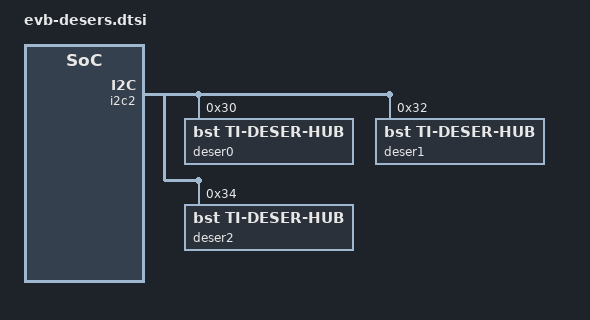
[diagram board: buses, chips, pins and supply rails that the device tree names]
/*
   default deser config for evb
   deser0@i2c2 0x30:    ti960
   deser1@i2c2 0x32:    ti960
   deser2@i2c2 0x34:    ti960
*/

&i2c2 {
    #address-cells = <1>;
    #size-cells = <0>;

    deser0: ti960@30 {
        compatible = "bst,ti-deser-hub";
        type = "ti960";
        reg = <0x30>;
        i2c-port = <0>;
        csi2-port = <0>;
        lane-speed = <1600>;
    };

    deser1: ti960@32 {
        compatible = "bst,ti-deser-hub";
        type = "ti960";
        reg = <0x32>;
        i2c-port = <0>;
        csi2-port = <0>;
        lane-speed = <1600>;
    };

    deser2: ti960@34 {
        compatible = "bst,ti-deser-hub";
        type = "ti960";
        reg = <0x34>;
        i2c-port = <0>;
        csi2-port = <0>;
        lane-speed = <1600>;
    };
};

#include "../common/deser.dtsi"
